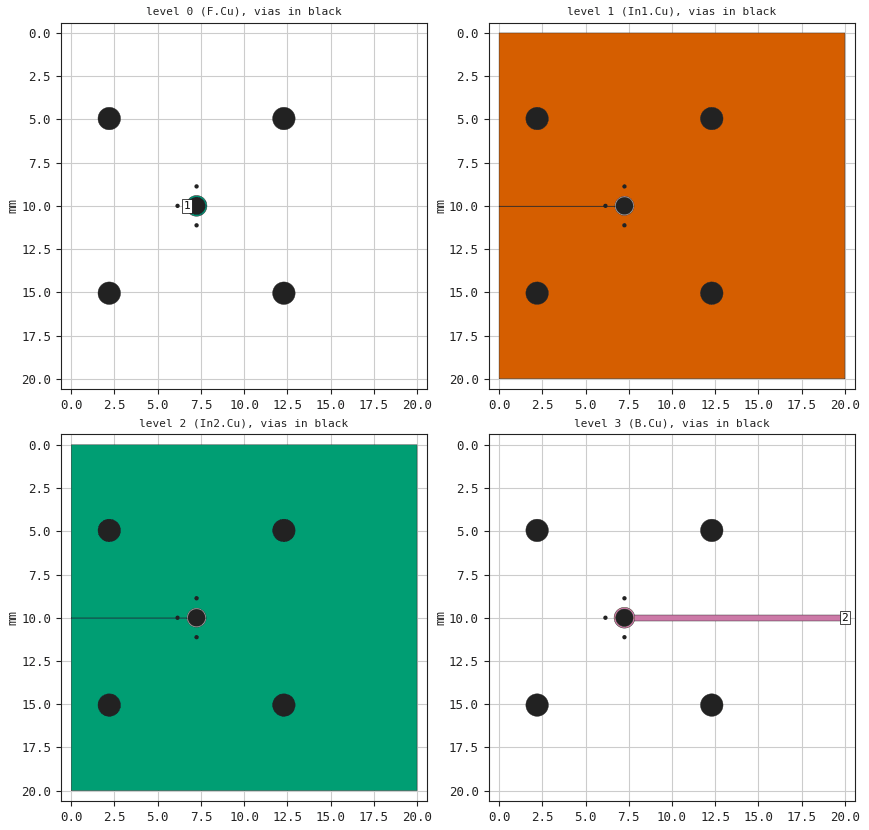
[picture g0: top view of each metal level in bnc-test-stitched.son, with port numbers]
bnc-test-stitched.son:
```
FTYP SONPROJ 19 ! Sonnet Project File
VER 18.52
HEADER
LIC antikernel2.1.51176
DAT 12/23/2021 09:59:14
BUILT_BY_CREATED xgeom 18.52 12/23/2021 08:22:48
BUILT_BY_SAVED sonnet 18.52
MDATE 12/23/2021 09:59:14
HDATE 12/23/2021 09:59:14
END HEADER
DIM
ANG DEG
CAP PF
CON /OH
FREQ GHZ
IND NH
LNG MM
RES OH
END DIM
CONTROL
VARSWP
OPTIONS  -dj
SPEED 1
CACHE_ABS 2
Q_ACC N
END CONTROL
GEO
SYM
TMET "Free Space" 0 FREESPACE 376.7303136 0 0 0
BMET "Free Space" 0 FREESPACE 376.7303136 0 0 0
MET "Copper_outer" 1 TMM 58000000 0.5 0.0432 2
MET "Copper_inner" 2 NOR 58000000 0.5 0.0175 
MET "Copper_bottom" 3 TMM 58000000 0.5 0.0432 2 CDVY TDWN
BOX 5 20 20 1600 1600 20 0
      10 1 1 0 0 0 0 "Air"
      0.1702 3.68 1 0.0092 0 0 0 "Isola_FR408HR"
      1.1938 3.68 1 0.0092 0 0 0 "Isola_FR408HR"
      0.1702 3.68 1 0.0092 0 0 0 "Isola_FR408HR"
      2.4 1 1 0 0 0 0 "Air"
      10 1 1 0 0 0 0 "Air"
TECHLAY METAL F.Cu <UNSPECIFIED> -1 0 CAD F.Cu drawing 
0 0 0 N 22 1 1 100 100 0 0 0 Y
END
END
TECHLAY VIA Via1 <UNSPECIFIED> -5 0 CAD Via1 drawing 
VIA POLYGON
0 0 -1 N 152 1 1 100 100 0 0 0 Y
TOLEVEL 3 RING NOCOVERS
END
END
TECHLAY VIA Pins <UNSPECIFIED> -6 0 
VIA POLYGON
0 0 -1 N 153 1 1 100 100 0 0 0 Y
TOLEVEL 4 RING NOCOVERS
END
END
TECHLAY METAL In1.Cu <UNSPECIFIED> -2 0 CAD In1.Cu drawing 
1 0 1 N 26 1 1 100 100 0 0 0 Y
END
END
TECHLAY METAL In2.Cu <UNSPECIFIED> -3 0 CAD In2.Cu drawing 
2 0 1 N 28 1 1 100 100 0 0 0 Y
END
END
TECHLAY METAL B.Cu <UNSPECIFIED> -4 0 CAD B.Cu drawing 
3 0 2 N 30 1 1 100 100 0 0 0 Y
END
END
LORGN 0 20 U 
POR1 CUP Auto
GNDREF AUTO
TERMW FEED
POLY 100 1
69
1 50 0 0 0 6.675 10 
CUPGRP "Auto" LOCAL
ID 151
END
POR1 BOX
POLY 52 1
1
2 50 0 0 0 20 10 
NUM 13
0 93 0 N 100 1 1 100 100 0 0 0 Y
TLAYNAM F.Cu INH
7.306492864 10.59763207
7.343907016 10.59290557
7.380950561 10.58583913
7.417477304 10.57646066
7.45334309 10.56480716
7.488406374 10.55092462
7.522528776 10.53486784
7.555575633 10.51670018
7.587416521 10.49649333
7.617925781 10.47432706
7.646983006 10.45028883
7.674473521 10.42447352
7.700288832 10.39698301
7.724327059 10.36792578
7.746493334 10.33741652
7.766700177 10.30557563
7.78486784 10.27252878
7.800924623 10.23840637
7.81480716 10.20334309
7.82646066 10.1674773
7.835839133 10.13095056
7.842905567 10.09390702
7.847632074 10.05649286
7.85 10.01885576
7.85 9.98114424
7.847632074 9.943507136
7.842905567 9.906092984
7.835839133 9.869049439
7.82646066 9.832522696
7.81480716 9.79665691
7.800924623 9.761593626
7.78486784 9.727471224
7.766700177 9.694424367
7.746493334 9.662583479
7.724327059 9.632074219
7.700288832 9.603016994
7.674473521 9.575526479
7.646983006 9.549711168
7.617925781 9.525672941
7.587416521 9.503506666
7.555575633 9.483299823
7.522528776 9.46513216
7.488406374 9.449075377
7.45334309 9.43519284
7.417477304 9.42353934
7.380950561 9.414160867
7.343907016 9.407094433
7.306492864 9.402367926
7.26885576 9.4
7.23114424 9.4
7.193507136 9.402367926
7.156092984 9.407094433
7.119049439 9.414160867
7.082522696 9.42353934
7.04665691 9.43519284
7.011593626 9.449075377
6.977471224 9.46513216
6.944424367 9.483299823
6.912583479 9.503506666
6.882074219 9.525672941
6.853016994 9.549711168
6.839271736 9.562618824
6.839271736 9.562618824
6.731384131 9.693032536
6.753506666 9.662583479
6.733299823 9.694424367
6.71513216 9.727471224
6.699075377 9.761593626
6.68519284 9.79665691
6.675 9.828027247
6.675 10.17197275
6.68519284 10.20334309
6.699075377 10.23840637
6.71513216 10.27252878
6.733299823 10.30557563
6.753506666 10.33741652
6.775672941 10.36792578
6.799711168 10.39698301
6.825526479 10.42447352
6.853016994 10.45028883
6.882074219 10.47432706
6.912583479 10.49649333
6.944424367 10.51670018
6.977471224 10.53486784
7.011593626 10.55092462
7.04665691 10.56480716
7.082522696 10.57646066
7.119049439 10.58583913
7.156092984 10.59290557
7.193507136 10.59763207
7.23114424 10.6
7.26885576 10.6
7.306492864 10.59763207
END
VIA POLYGON
0 101 -1 N 142 1 1 100 100 0 0 0 Y
TOLEVEL 3 RING NOCOVERS
TLAYNAM Via1 INH
6.275 10.00392828
6.274506682 10.01176935
6.273521993 10.01956396
6.272049819 10.02728137
6.270095971 10.0348911
6.267668158 10.04236314
6.264775963 10.04966799
6.2614308 10.05677683
6.25764587 10.06366159
6.253436111 10.07029511
6.248818137 10.0766512
6.243810173 10.08270479
6.238431983 10.08843198
6.232704793 10.09381017
6.226651204 10.09881814
6.220295109 10.10343611
6.21366159 10.10764587
6.206776828 10.1114308
6.199667994 10.11477596
6.192363144 10.11766816
6.184891105 10.12009597
6.177281367 10.12204982
6.169563962 10.12352199
6.161769347 10.12450668
6.153928283 10.125
6.146071717 10.125
6.138230653 10.12450668
6.130436038 10.12352199
6.122718633 10.12204982
6.115108895 10.12009597
6.107636856 10.11766816
6.100332006 10.11477596
6.093223172 10.1114308
6.08633841 10.10764587
6.079704891 10.10343611
6.073348796 10.09881814
6.067295207 10.09381017
6.061568017 10.08843198
6.056189827 10.08270479
6.051181863 10.0766512
6.046563889 10.07029511
6.04235413 10.06366159
6.0385692 10.05677683
6.035224037 10.04966799
6.032331842 10.04236314
6.029904029 10.0348911
6.027950181 10.02728137
6.026478007 10.01956396
6.025493318 10.01176935
6.025 10.00392828
6.025 9.996071717
6.025493318 9.988230653
6.026478007 9.980436038
6.027950181 9.972718633
6.029904029 9.965108895
6.032331842 9.957636856
6.035224037 9.950332006
6.0385692 9.943223172
6.04235413 9.93633841
6.046563889 9.929704891
6.051181863 9.923348796
6.056189827 9.917295207
6.061568017 9.911568017
6.067295207 9.906189827
6.073348796 9.901181863
6.079704891 9.896563889
6.08633841 9.89235413
6.093223172 9.8885692
6.100332006 9.885224037
6.107636856 9.882331842
6.115108895 9.879904029
6.122718633 9.877950181
6.130436038 9.876478007
6.138230653 9.875493318
6.146071717 9.875
6.153928283 9.875
6.161769347 9.875493318
6.169563962 9.876478007
6.177281367 9.877950181
6.184891105 9.879904029
6.192363144 9.882331842
6.199667994 9.885224037
6.206776828 9.8885692
6.21366159 9.89235413
6.220295109 9.896563889
6.226651204 9.901181863
6.232704793 9.906189827
6.238431983 9.911568017
6.243810173 9.917295207
6.248818137 9.923348796
6.253436111 9.929704891
6.25764587 9.93633841
6.2614308 9.943223172
6.264775963 9.950332006
6.267668158 9.957636856
6.270095971 9.965108895
6.272049819 9.972718633
6.273521993 9.980436038
6.274506682 9.988230653
6.275 9.996071717
6.275 10.00392828
END
VIA POLYGON
0 101 -1 N 159 1 1 100 100 0 0 0 Y
TOLEVEL 3 RING NOCOVERS
TLAYNAM Via1 INH
7.375 8.87892828
7.374506682 8.88676935
7.373521993 8.89456396
7.372049819 8.90228137
7.370095971 8.9098911
7.367668158 8.91736314
7.364775963 8.92466799
7.3614308 8.93177683
7.35764587 8.93866159
7.353436111 8.94529511
7.348818137 8.9516512
7.343810173 8.95770479
7.338431983 8.96343198
7.332704793 8.96881017
7.326651204 8.97381814
7.320295109 8.97843611
7.31366159 8.98264587
7.306776828 8.9864308
7.299667994 8.98977596
7.292363144 8.99266816
7.284891105 8.99509597
7.277281367 8.99704982
7.269563962 8.99852199
7.261769347 8.99950668
7.253928283 9
7.246071717 9
7.238230653 8.99950668
7.230436038 8.99852199
7.222718633 8.99704982
7.215108895 8.99509597
7.207636856 8.99266816
7.200332006 8.98977596
7.193223172 8.9864308
7.18633841 8.98264587
7.179704891 8.97843611
7.173348796 8.97381814
7.167295207 8.96881017
7.161568017 8.96343198
7.156189827 8.95770479
7.151181863 8.9516512
7.146563889 8.94529511
7.14235413 8.93866159
7.1385692 8.93177683
7.135224037 8.92466799
7.132331842 8.91736314
7.129904029 8.9098911
7.127950181 8.90228137
7.126478007 8.89456396
7.125493318 8.88676935
7.125 8.87892828
7.125 8.871071717
7.125493318 8.863230653
7.126478007 8.855436038
7.127950181 8.847718633
7.129904029 8.840108895
7.132331842 8.832636856
7.135224037 8.825332006
7.1385692 8.818223172
7.14235413 8.81133841
7.146563889 8.804704891
7.151181863 8.798348796
7.156189827 8.792295207
7.161568017 8.786568017
7.167295207 8.781189827
7.173348796 8.776181863
7.179704891 8.771563889
7.18633841 8.76735413
7.193223172 8.7635692
7.200332006 8.760224037
7.207636856 8.757331842
7.215108895 8.754904029
7.222718633 8.752950181
7.230436038 8.751478007
7.238230653 8.750493318
7.246071717 8.75
7.253928283 8.75
7.261769347 8.750493318
7.269563962 8.751478007
7.277281367 8.752950181
7.284891105 8.754904029
7.292363144 8.757331842
7.299667994 8.760224037
7.306776828 8.7635692
7.31366159 8.76735413
7.320295109 8.771563889
7.326651204 8.776181863
7.332704793 8.781189827
7.338431983 8.786568017
7.343810173 8.792295207
7.348818137 8.798348796
7.353436111 8.804704891
7.35764587 8.81133841
7.3614308 8.818223172
7.364775963 8.825332006
7.367668158 8.832636856
7.370095971 8.840108895
7.372049819 8.847718633
7.373521993 8.855436038
7.374506682 8.863230653
7.375 8.871071717
7.375 8.87892828
END
VIA POLYGON
0 101 -1 N 160 1 1 100 100 0 0 0 Y
TOLEVEL 3 RING NOCOVERS
TLAYNAM Via1 INH
7.375 11.1210725
7.3745075 11.11323
7.3735225 11.105435
7.37205 11.0977175
7.370095 11.09011
7.3676675 11.0826375
7.364775 11.0753325
7.36143 11.0682225
7.357645 11.0613375
7.353435 11.054705
7.3488175 11.04835
7.34381 11.042295
7.3384325 11.0365675
7.332705 11.03119
7.32665 11.0261825
7.320295 11.021565
7.3136625 11.017355
7.3067775 11.01357
7.2996675 11.010225
7.2923625 11.0073325
7.28489 11.004905
7.2772825 11.00295
7.269565 11.0014775
7.26177 11.0004925
7.2539275 11
7.2460725 11
7.23823 11.0004925
7.230435 11.0014775
7.2227175 11.00295
7.21511 11.004905
7.2076375 11.0073325
7.2003325 11.010225
7.1932225 11.01357
7.1863375 11.017355
7.179705 11.021565
7.17335 11.0261825
7.167295 11.03119
7.1615675 11.0365675
7.15619 11.042295
7.1511825 11.04835
7.146565 11.054705
7.142355 11.0613375
7.13857 11.0682225
7.135225 11.0753325
7.1323325 11.0826375
7.129905 11.09011
7.12795 11.0977175
7.1264775 11.105435
7.1254925 11.11323
7.125 11.1210725
7.125 11.1289275
7.1254925 11.13677
7.1264775 11.144565
7.12795 11.1522825
7.129905 11.15989
7.1323325 11.1673625
7.135225 11.1746675
7.13857 11.1817775
7.142355 11.1886625
7.146565 11.195295
7.1511825 11.20165
7.15619 11.207705
7.1615675 11.2134325
7.167295 11.21881
7.17335 11.2238175
7.179705 11.228435
7.1863375 11.232645
7.1932225 11.23643
7.2003325 11.239775
7.2076375 11.2426675
7.21511 11.245095
7.2227175 11.24705
7.230435 11.2485225
7.23823 11.2495075
7.2460725 11.25
7.2539275 11.25
7.26177 11.2495075
7.269565 11.2485225
7.2772825 11.24705
7.28489 11.245095
7.2923625 11.2426675
7.2996675 11.239775
7.3067775 11.23643
7.3136625 11.232645
7.320295 11.228435
7.32665 11.2238175
7.332705 11.21881
7.3384325 11.2134325
7.34381 11.207705
7.3488175 11.20165
7.353435 11.195295
7.357645 11.1886625
7.36143 11.1817775
7.364775 11.1746675
7.3676675 11.1673625
7.370095 11.15989
7.37205 11.1522825
7.3735225 11.144565
7.3745075 11.13677
7.375 11.1289275
7.375 11.1210725
END
VIA POLYGON
0 101 -1 N 85 1 1 100 100 0 0 0 Y
TOLEVEL 4 RING NOCOVERS
TLAYNAM Pins INH
2.85 4.970427073
2.847434747 5.011200602
2.842314365 5.051732601
2.834659061 5.091863108
2.824499048 5.131433746
2.811874423 5.170288347
2.796835009 5.208273571
2.779440159 5.245239508
2.759758525 5.281040269
2.737867779 5.315534565
2.713854314 5.348586263
2.687812901 5.380064924
2.659846314 5.409846314
2.630064924 5.437812901
2.598586263 5.463854314
2.565534565 5.487867779
2.531040269 5.509758525
2.495239508 5.529440159
2.458273571 5.546835009
2.420288347 5.561874423
2.381433746 5.574499048
2.341863108 5.584659061
2.301732601 5.592314365
2.261200602 5.597434747
2.220427073 5.6
2.179572927 5.6
2.138799398 5.597434747
2.098267399 5.592314365
2.058136892 5.584659061
2.018566254 5.574499048
1.979711653 5.561874423
1.941726429 5.546835009
1.904760492 5.529440159
1.868959731 5.509758525
1.834465435 5.487867779
1.801413737 5.463854314
1.769935076 5.437812901
1.740153686 5.409846314
1.712187099 5.380064924
1.686145686 5.348586263
1.662132221 5.315534565
1.640241475 5.281040269
1.620559841 5.245239508
1.603164991 5.208273571
1.588125577 5.170288347
1.575500952 5.131433746
1.565340939 5.091863108
1.557685635 5.051732601
1.552565253 5.011200602
1.55 4.970427073
1.55 4.929572927
1.552565253 4.888799398
1.557685635 4.848267399
1.565340939 4.808136892
1.575500952 4.768566254
1.588125577 4.729711653
1.603164991 4.691726429
1.620559841 4.654760492
1.640241475 4.618959731
1.662132221 4.584465435
1.686145686 4.551413737
1.712187099 4.519935076
1.740153686 4.490153686
1.769935076 4.462187099
1.801413737 4.436145686
1.834465435 4.412132221
1.868959731 4.390241475
1.904760492 4.370559841
1.941726429 4.353164991
1.979711653 4.338125577
2.018566254 4.325500952
2.058136892 4.315340939
2.098267399 4.307685635
2.138799398 4.302565253
2.179572927 4.3
2.220427073 4.3
2.261200602 4.302565253
2.301732601 4.307685635
2.341863108 4.315340939
2.381433746 4.325500952
2.420288347 4.338125577
2.458273571 4.353164991
2.495239508 4.370559841
2.531040269 4.390241475
2.565534565 4.412132221
2.598586263 4.436145686
2.630064924 4.462187099
2.659846314 4.490153686
2.687812901 4.519935076
2.713854314 4.551413737
2.737867779 4.584465435
2.759758525 4.618959731
2.779440159 4.654760492
2.796835009 4.691726429
2.811874423 4.729711653
2.824499048 4.768566254
2.834659061 4.808136892
2.842314365 4.848267399
2.847434747 4.888799398
2.85 4.929572927
2.85 4.970427073
END
VIA POLYGON
0 101 -1 N 86 1 1 100 100 0 0 0 Y
TOLEVEL 4 RING NOCOVERS
TLAYNAM Pins INH
12.95 4.970427073
12.94743475 5.011200602
12.94231436 5.051732601
12.93465906 5.091863108
12.92449905 5.131433746
12.91187442 5.170288347
12.89683501 5.208273571
12.87944016 5.245239508
12.85975852 5.281040269
12.83786778 5.315534565
12.81385431 5.348586263
12.7878129 5.380064924
12.75984631 5.409846314
12.73006492 5.437812901
12.69858626 5.463854314
12.66553456 5.487867779
12.63104027 5.509758525
12.59523951 5.529440159
12.55827357 5.546835009
12.52028835 5.561874423
12.48143375 5.574499048
12.44186311 5.584659061
12.4017326 5.592314365
12.3612006 5.597434747
12.32042707 5.6
12.27957293 5.6
12.2387994 5.597434747
12.1982674 5.592314365
12.15813689 5.584659061
12.11856625 5.574499048
12.07971165 5.561874423
12.04172643 5.546835009
12.00476049 5.529440159
11.96895973 5.509758525
11.93446544 5.487867779
11.90141374 5.463854314
11.86993508 5.437812901
11.84015369 5.409846314
11.8121871 5.380064924
11.78614569 5.348586263
11.76213222 5.315534565
11.74024148 5.281040269
11.72055984 5.245239508
11.70316499 5.208273571
11.68812558 5.170288347
11.67550095 5.131433746
11.66534094 5.091863108
11.65768564 5.051732601
11.65256525 5.011200602
11.65 4.970427073
11.65 4.929572927
11.65256525 4.888799398
11.65768564 4.848267399
11.66534094 4.808136892
11.67550095 4.768566254
11.68812558 4.729711653
11.70316499 4.691726429
11.72055984 4.654760492
11.74024148 4.618959731
11.76213222 4.584465435
11.78614569 4.551413737
11.8121871 4.519935076
11.84015369 4.490153686
11.86993508 4.462187099
11.90141374 4.436145686
11.93446544 4.412132221
11.96895973 4.390241475
12.00476049 4.370559841
12.04172643 4.353164991
12.07971165 4.338125577
12.11856625 4.325500952
12.15813689 4.315340939
12.1982674 4.307685635
12.2387994 4.302565253
12.27957293 4.3
12.32042707 4.3
12.3612006 4.302565253
12.4017326 4.307685635
12.44186311 4.315340939
12.48143375 4.325500952
12.52028835 4.338125577
12.55827357 4.353164991
12.59523951 4.370559841
12.63104027 4.390241475
12.66553456 4.412132221
12.69858626 4.436145686
12.73006492 4.462187099
12.75984631 4.490153686
12.7878129 4.519935076
12.81385431 4.551413737
12.83786778 4.584465435
12.85975852 4.618959731
12.87944016 4.654760492
12.89683501 4.691726429
12.91187442 4.729711653
12.92449905 4.768566254
12.93465906 4.808136892
12.94231436 4.848267399
12.94743475 4.888799398
12.95 4.929572927
12.95 4.970427073
END
VIA POLYGON
0 101 -1 N 89 1 1 100 100 0 0 0 Y
TOLEVEL 4 RING NOCOVERS
TLAYNAM Pins INH
7.75 10.01571313
7.748026728 10.04707739
7.744087973 10.07825585
7.738199278 10.10912547
7.730383883 10.13956442
7.720672633 10.16945257
7.709103853 10.19867198
7.6957232 10.22710731
7.68058348 10.25464636
7.663744445 10.28118043
7.645272549 10.30660482
7.625240693 10.33081917
7.603727934 10.35372793
7.580819172 10.37524069
7.556604818 10.39527255
7.531180434 10.41374445
7.50464636 10.43058348
7.477107314 10.4457232
7.448671978 10.45910385
7.419452575 10.47067263
7.38956442 10.48038388
7.359125468 10.48819928
7.328255847 10.49408797
7.297077387 10.49802673
7.265713133 10.5
7.234286867 10.5
7.202922613 10.49802673
7.171744153 10.49408797
7.140874532 10.48819928
7.11043558 10.48038388
7.080547425 10.47067263
7.051328022 10.45910385
7.022892686 10.4457232
6.99535364 10.43058348
6.968819566 10.41374445
6.943395182 10.39527255
6.919180828 10.37524069
6.896272066 10.35372793
6.874759307 10.33081917
6.854727451 10.30660482
6.836255555 10.28118043
6.81941652 10.25464636
6.8042768 10.22710731
6.790896147 10.19867198
6.779327367 10.16945257
6.769616117 10.13956442
6.761800722 10.10912547
6.755912027 10.07825585
6.751973272 10.04707739
6.75 10.01571313
6.75 9.984286867
6.751973272 9.952922613
6.755912027 9.921744153
6.761800722 9.890874532
6.769616117 9.86043558
6.779327367 9.830547425
6.790896147 9.801328022
6.8042768 9.772892686
6.81941652 9.74535364
6.836255555 9.718819566
6.854727451 9.693395182
6.874759307 9.669180828
6.896272066 9.646272066
6.919180828 9.624759307
6.943395182 9.604727451
6.968819566 9.586255555
6.99535364 9.56941652
7.022892686 9.5542768
7.051328022 9.540896147
7.080547425 9.529327367
7.11043558 9.519616117
7.140874532 9.511800722
7.171744153 9.505912027
7.202922613 9.501973272
7.234286867 9.5
7.265713133 9.5
7.297077387 9.501973272
7.328255847 9.505912027
7.359125468 9.511800722
7.38956442 9.519616117
7.419452575 9.529327367
7.448671978 9.540896147
7.477107314 9.5542768
7.50464636 9.56941652
7.531180434 9.586255555
7.556604818 9.604727451
7.580819172 9.624759307
7.603727934 9.646272066
7.625240693 9.669180828
7.645272549 9.693395182
7.663744445 9.718819566
7.68058348 9.74535364
7.6957232 9.772892686
7.709103853 9.801328022
7.720672633 9.830547425
7.730383883 9.86043558
7.738199278 9.890874532
7.744087973 9.921744153
7.748026728 9.952922613
7.75 9.984286867
7.75 10.01571313
END
VIA POLYGON
0 101 -1 N 88 1 1 100 100 0 0 0 Y
TOLEVEL 4 RING NOCOVERS
TLAYNAM Pins INH
2.85 15.07042707
2.847434747 15.1112006
2.842314365 15.1517326
2.834659061 15.19186311
2.824499048 15.23143375
2.811874423 15.27028835
2.796835009 15.30827357
2.779440159 15.34523951
2.759758525 15.38104027
2.737867779 15.41553456
2.713854314 15.44858626
2.687812901 15.48006492
2.659846314 15.50984631
2.630064924 15.5378129
2.598586263 15.56385431
2.565534565 15.58786778
2.531040269 15.60975852
2.495239508 15.62944016
2.458273571 15.64683501
2.420288347 15.66187442
2.381433746 15.67449905
2.341863108 15.68465906
2.301732601 15.69231436
2.261200602 15.69743475
2.220427073 15.7
2.179572927 15.7
2.138799398 15.69743475
2.098267399 15.69231436
2.058136892 15.68465906
2.018566254 15.67449905
1.979711653 15.66187442
1.941726429 15.64683501
1.904760492 15.62944016
1.868959731 15.60975852
1.834465435 15.58786778
1.801413737 15.56385431
1.769935076 15.5378129
1.740153686 15.50984631
1.712187099 15.48006492
1.686145686 15.44858626
1.662132221 15.41553456
1.640241475 15.38104027
1.620559841 15.34523951
1.603164991 15.30827357
1.588125577 15.27028835
1.575500952 15.23143375
1.565340939 15.19186311
1.557685635 15.1517326
1.552565253 15.1112006
1.55 15.07042707
1.55 15.02957293
1.552565253 14.9887994
1.557685635 14.9482674
1.565340939 14.90813689
1.575500952 14.86856625
1.588125577 14.82971165
1.603164991 14.79172643
1.620559841 14.75476049
1.640241475 14.71895973
1.662132221 14.68446544
1.686145686 14.65141374
1.712187099 14.61993508
1.740153686 14.59015369
1.769935076 14.5621871
1.801413737 14.53614569
1.834465435 14.51213222
1.868959731 14.49024148
1.904760492 14.47055984
1.941726429 14.45316499
1.979711653 14.43812558
2.018566254 14.42550095
2.058136892 14.41534094
2.098267399 14.40768564
2.138799398 14.40256525
2.179572927 14.4
2.220427073 14.4
2.261200602 14.40256525
2.301732601 14.40768564
2.341863108 14.41534094
2.381433746 14.42550095
2.420288347 14.43812558
2.458273571 14.45316499
2.495239508 14.47055984
2.531040269 14.49024148
2.565534565 14.51213222
2.598586263 14.53614569
2.630064924 14.5621871
2.659846314 14.59015369
2.687812901 14.61993508
2.713854314 14.65141374
2.737867779 14.68446544
2.759758525 14.71895973
2.779440159 14.75476049
2.796835009 14.79172643
2.811874423 14.82971165
2.824499048 14.86856625
2.834659061 14.90813689
2.842314365 14.9482674
2.847434747 14.9887994
2.85 15.02957293
2.85 15.07042707
END
VIA POLYGON
0 101 -1 N 87 1 1 100 100 0 0 0 Y
TOLEVEL 4 RING NOCOVERS
TLAYNAM Pins INH
12.95 15.07042707
12.94743475 15.1112006
12.94231436 15.1517326
12.93465906 15.19186311
12.92449905 15.23143375
12.91187442 15.27028835
12.89683501 15.30827357
12.87944016 15.34523951
12.85975852 15.38104027
12.83786778 15.41553456
12.81385431 15.44858626
12.7878129 15.48006492
12.75984631 15.50984631
12.73006492 15.5378129
12.69858626 15.56385431
12.66553456 15.58786778
12.63104027 15.60975852
12.59523951 15.62944016
12.55827357 15.64683501
12.52028835 15.66187442
12.48143375 15.67449905
12.44186311 15.68465906
12.4017326 15.69231436
12.3612006 15.69743475
12.32042707 15.7
12.27957293 15.7
12.2387994 15.69743475
12.1982674 15.69231436
12.15813689 15.68465906
12.11856625 15.67449905
12.07971165 15.66187442
12.04172643 15.64683501
12.00476049 15.62944016
11.96895973 15.60975852
11.93446544 15.58786778
11.90141374 15.56385431
11.86993508 15.5378129
11.84015369 15.50984631
11.8121871 15.48006492
11.78614569 15.44858626
11.76213222 15.41553456
11.74024148 15.38104027
11.72055984 15.34523951
11.70316499 15.30827357
11.68812558 15.27028835
11.67550095 15.23143375
11.66534094 15.19186311
11.65768564 15.1517326
11.65256525 15.1112006
11.65 15.07042707
11.65 15.02957293
11.65256525 14.9887994
11.65768564 14.9482674
11.66534094 14.90813689
11.67550095 14.86856625
11.68812558 14.82971165
11.70316499 14.79172643
11.72055984 14.75476049
11.74024148 14.71895973
11.76213222 14.68446544
11.78614569 14.65141374
11.8121871 14.61993508
11.84015369 14.59015369
11.86993508 14.5621871
11.90141374 14.53614569
11.93446544 14.51213222
11.96895973 14.49024148
12.00476049 14.47055984
12.04172643 14.45316499
12.07971165 14.43812558
12.11856625 14.42550095
12.15813689 14.41534094
12.1982674 14.40768564
12.2387994 14.40256525
12.27957293 14.4
12.32042707 14.4
12.3612006 14.40256525
12.4017326 14.40768564
12.44186311 14.41534094
12.48143375 14.42550095
12.52028835 14.43812558
12.55827357 14.45316499
12.59523951 14.47055984
12.63104027 14.49024148
12.66553456 14.51213222
12.69858626 14.53614569
12.73006492 14.5621871
12.75984631 14.59015369
12.7878129 14.61993508
12.81385431 14.65141374
12.83786778 14.68446544
12.85975852 14.71895973
12.87944016 14.75476049
12.89683501 14.79172643
12.91187442 14.82971165
12.92449905 14.86856625
12.93465906 14.90813689
12.94231436 14.9482674
12.94743475 14.9887994
12.95 15.02957293
12.95 15.07042707
END
1 108 1 N 107 1 1 100 100 0 0 0 Y
TLAYNAM In1.Cu INH
20 0
0 0
0 10.01728445
6.7 10.01728445
6.7 9.982715554
6.702170599 9.948214875
6.70650323 9.913918568
6.712980794 9.879961986
6.721577728 9.846479138
6.732260104 9.813602168
6.744985762 9.781460824
6.75970448 9.750181955
6.776358171 9.719889003
6.79488111 9.690701522
6.815200196 9.6627347
6.837235237 9.636098911
6.860899273 9.610899273
6.886098911 9.587235237
6.9127347 9.565200196
6.940701522 9.54488111
6.969889003 9.526358171
7.000181955 9.50970448
7.031460824 9.494985762
7.063602168 9.482260104
7.096479138 9.471577728
7.129961986 9.462980794
7.163918568 9.45650323
7.198214875 9.452170599
7.232715554 9.45
7.267284446 9.45
7.301785125 9.452170599
7.336081432 9.45650323
7.370038014 9.462980794
7.403520862 9.471577728
7.436397832 9.482260104
7.468539176 9.494985762
7.499818045 9.50970448
7.530110997 9.526358171
7.559298478 9.54488111
7.5872653 9.565200196
7.613901089 9.587235237
7.639100727 9.610899273
7.662764763 9.636098911
7.684799804 9.6627347
7.70511889 9.690701522
7.723641829 9.719889003
7.74029552 9.750181955
7.755014238 9.781460824
7.767739896 9.813602168
7.778422272 9.846479138
7.787019206 9.879961986
7.79349677 9.913918568
7.797829401 9.948214875
7.8 9.982715554
7.8 10.01728445
7.797829401 10.05178513
7.79349677 10.08608143
7.787019206 10.12003801
7.778422272 10.15352086
7.767739896 10.18639783
7.755014238 10.21853918
7.74029552 10.24981804
7.723641829 10.280111
7.70511889 10.30929848
7.684799804 10.3372653
7.662764763 10.36390109
7.639100727 10.38910073
7.613901089 10.41276476
7.5872653 10.4347998
7.559298478 10.45511889
7.530110997 10.47364183
7.499818045 10.49029552
7.468539176 10.50501424
7.436397832 10.5177399
7.403520862 10.52842227
7.370038014 10.53701921
7.336081432 10.54349677
7.301785125 10.5478294
7.267284446 10.55
7.232715554 10.55
7.198214875 10.5478294
7.163918568 10.54349677
7.129961986 10.53701921
7.096479138 10.52842227
7.063602168 10.5177399
7.031460824 10.50501424
7.000181955 10.49029552
6.969889003 10.47364183
6.940701522 10.45511889
6.9127347 10.4347998
6.886098911 10.41276476
6.860899273 10.38910073
6.837235237 10.36390109
6.815200196 10.3372653
6.79488111 10.30929848
6.776358171 10.280111
6.75970448 10.24981804
6.744985762 10.21853918
6.732260104 10.18639783
6.721577728 10.15352086
6.712980794 10.12003801
6.70650323 10.08608143
6.702170599 10.05178513
6.7 10.01728445
0 10.01728445
0 20
20 20
20 0
END
2 108 1 N 125 1 1 100 100 0 0 0 Y
TLAYNAM In2.Cu INH
20 0
0 0
0 10.01728445
6.7 10.01728445
6.7 9.982715554
6.702170599 9.948214875
6.70650323 9.913918568
6.712980794 9.879961986
6.721577728 9.846479138
6.732260104 9.813602168
6.744985762 9.781460824
6.75970448 9.750181955
6.776358171 9.719889003
6.79488111 9.690701522
6.815200196 9.6627347
6.837235237 9.636098911
6.860899273 9.610899273
6.886098911 9.587235237
6.9127347 9.565200196
6.940701522 9.54488111
6.969889003 9.526358171
7.000181955 9.50970448
7.031460824 9.494985762
7.063602168 9.482260104
7.096479138 9.471577728
7.129961986 9.462980794
7.163918568 9.45650323
7.198214875 9.452170599
7.232715554 9.45
7.267284446 9.45
7.301785125 9.452170599
7.336081432 9.45650323
7.370038014 9.462980794
7.403520862 9.471577728
7.436397832 9.482260104
7.468539176 9.494985762
7.499818045 9.50970448
7.530110997 9.526358171
7.559298478 9.54488111
7.5872653 9.565200196
7.613901089 9.587235237
7.639100727 9.610899273
7.662764763 9.636098911
7.684799804 9.6627347
7.70511889 9.690701522
7.723641829 9.719889003
7.74029552 9.750181955
7.755014238 9.781460824
7.767739896 9.813602168
7.778422272 9.846479138
7.787019206 9.879961986
7.79349677 9.913918568
7.797829401 9.948214875
7.8 9.982715554
7.8 10.01728445
7.797829401 10.05178513
7.79349677 10.08608143
7.787019206 10.12003801
7.778422272 10.15352086
7.767739896 10.18639783
7.755014238 10.21853918
7.74029552 10.24981804
7.723641829 10.280111
7.70511889 10.30929848
7.684799804 10.3372653
7.662764763 10.36390109
7.639100727 10.38910073
7.613901089 10.41276476
7.5872653 10.4347998
7.559298478 10.45511889
7.530110997 10.47364183
7.499818045 10.49029552
7.468539176 10.50501424
7.436397832 10.5177399
7.403520862 10.52842227
7.370038014 10.53701921
7.336081432 10.54349677
7.301785125 10.5478294
7.267284446 10.55
7.232715554 10.55
7.198214875 10.5478294
7.163918568 10.54349677
7.129961986 10.53701921
7.096479138 10.52842227
7.063602168 10.5177399
7.031460824 10.50501424
7.000181955 10.49029552
6.969889003 10.47364183
6.940701522 10.45511889
6.9127347 10.4347998
6.886098911 10.41276476
6.860899273 10.38910073
6.837235237 10.36390109
6.815200196 10.3372653
6.79488111 10.30929848
6.776358171 10.280111
6.75970448 10.24981804
6.744985762 10.21853918
6.732260104 10.18639783
6.721577728 10.15352086
6.712980794 10.12003801
6.70650323 10.08608143
6.702170599 10.05178513
6.7 10.01728445
0 10.01728445
0 20
20 20
20 0
END
3 5 2 N 52 1 1 100 100 0 0 0 Y
TLAYNAM B.Cu INH
7.55 9.825
20 9.825
20 10.175
7.55 10.175
7.55 9.825
END
3 102 2 N 90 1 1 100 100 0 0 0 Y
TLAYNAM B.Cu INH
7.85 10.01885576
7.847632074 10.05649286
7.842905567 10.09390702
7.835839133 10.13095056
7.82646066 10.1674773
7.81480716 10.20334309
7.800924623 10.23840637
7.78486784 10.27252878
7.766700177 10.30557563
7.746493334 10.33741652
7.724327059 10.36792578
7.700288832 10.39698301
7.674473521 10.42447352
7.646983006 10.45028883
7.617925781 10.47432706
7.587416521 10.49649333
7.555575633 10.51670018
7.522528776 10.53486784
7.488406374 10.55092462
7.45334309 10.56480716
7.417477304 10.57646066
7.380950561 10.58583913
7.343907016 10.59290557
7.306492864 10.59763207
7.26885576 10.6
7.23114424 10.6
7.193507136 10.59763207
7.156092984 10.59290557
7.119049439 10.58583913
7.082522696 10.57646066
7.04665691 10.56480716
7.011593626 10.55092462
6.977471224 10.53486784
6.944424367 10.51670018
6.912583479 10.49649333
6.882074219 10.47432706
6.853016994 10.45028883
6.825526479 10.42447352
6.799711168 10.39698301
6.775672941 10.36792578
6.753506666 10.33741652
6.733299823 10.30557563
6.71513216 10.27252878
6.699075377 10.23840637
6.68519284 10.20334309
6.67353934 10.1674773
6.664160867 10.13095056
6.657094433 10.09390702
6.652367926 10.05649286
6.65 10.01885576
6.65 9.98114424
6.652367926 9.943507136
6.657094433 9.906092984
6.664160867 9.869049439
6.67353934 9.832522696
6.68519284 9.79665691
6.699075377 9.761593626
6.71513216 9.727471224
6.733299823 9.694424367
6.753506666 9.662583479
6.775672941 9.632074219
6.799711168 9.603016994
6.825526479 9.575526479
6.853016994 9.549711168
6.882074219 9.525672941
6.912583479 9.503506666
6.944424367 9.483299823
6.977471224 9.46513216
7.011593626 9.449075377
7.04665691 9.43519284
7.082522696 9.42353934
7.119049439 9.414160867
7.156092984 9.407094433
7.193507136 9.402367926
7.23114424 9.4
7.26885576 9.4
7.306492864 9.402367926
7.343907016 9.407094433
7.380950561 9.414160867
7.417477304 9.42353934
7.45334309 9.43519284
7.488406374 9.449075377
7.522528776 9.46513216
7.555575633 9.483299823
7.587416521 9.503506666
7.617925781 9.525672941
7.646983006 9.549711168
7.674473521 9.575526479
7.700288832 9.603016994
7.724327059 9.632074219
7.746493334 9.662583479
7.766700177 9.694424367
7.78486784 9.727471224
7.800924623 9.761593626
7.81480716 9.79665691
7.82646066 9.832522696
7.835839133 9.869049439
7.842905567 9.906092984
7.847632074 9.943507136
7.85 9.98114424
7.85 10.01885576
7.85 10.01885576
END
END GEO
OPT
MAX 100
END OPT
VARSWP
ENABLED Y
FREQ Y AY ABS_ENTRY 0.001 10.0 -1 300 
FREQ Y AN STEP 7.25
END
END VARSWP
```
